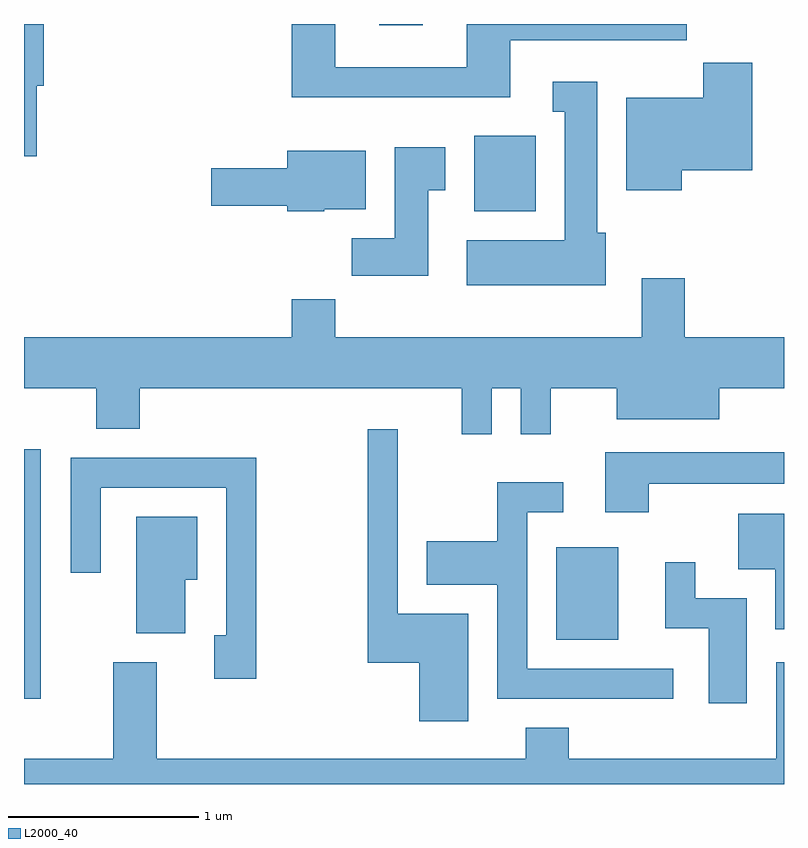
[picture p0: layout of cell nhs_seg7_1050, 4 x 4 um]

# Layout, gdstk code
import gdstk
lib = gdstk.Library(unit=1e-6, precision=1e-09)
def R(c, l, rs):  # rectangles x0, y0, x1, y1
    for r in rs: c.add(gdstk.rectangle(r[:2], r[2:], *l))
def P(c, l, *ps):  # polygons
    for p in ps: c.add(gdstk.Polygon(p, *l))
L2000_40 = (2000, 40)

nhs_seg7_1050 = lib.new_cell('nhs_seg7_1050')
R(nhs_seg7_1050, L2000_40, [(217.611,1692.701,217.699,1694.014), (220.411,1693.011,220.739,1693.499), (219.981,1695.266,220.304,1695.664), (219.481,1696.246,219.709,1696.252)])
P(nhs_seg7_1050, L2000_40, [(217.679,1695.926),(217.714,1695.926),(217.714,1696.252),(217.611,1696.252),(217.611,1695.556),(217.679,1695.556)],
  [(220.169,1696.166),(221.098,1696.166),(221.098,1696.252),(219.941,1696.252),(219.941,1696.024),(219.249,1696.024),(219.249,1696.252),(219.021,1696.252),(219.021,1695.866),(220.169,1695.866)],
  [(221.074,1695.481),(221.444,1695.481),(221.444,1696.049),(221.186,1696.049),(221.186,1695.864),(220.781,1695.864),(220.781,1695.376),(221.074,1695.376)],
  [(220.674,1695.154),(220.629,1695.154),(220.629,1695.949),(220.393,1695.949),(220.393,1695.791),(220.456,1695.791),(220.456,1695.114),(219.941,1695.114),(219.941,1694.876),(220.674,1694.876)],
  [(219.739,1695.376),(219.829,1695.376),(219.829,1695.604),(219.561,1695.604),(219.561,1695.124),(219.336,1695.124),(219.336,1694.926),(219.739,1694.926)],
  [(219.19,1695.276),(219.409,1695.276),(219.409,1695.584),(218.996,1695.584),(218.996,1695.494),(218.596,1695.494),(218.596,1695.296),(218.996,1695.296),(218.996,1695.266),(219.19,1695.266)],
  [(220.074,1694.336),(220.226,1694.336),(220.226,1694.093),(220.384,1694.093),(220.384,1694.336),(220.731,1694.336),(220.731,1694.171),(221.269,1694.171),(221.269,1694.336),(221.611,1694.336),(221.611,1694.604),(221.089,1694.604),(221.089,1694.914),(220.861,1694.914),(220.861,1694.604),(219.249,1694.604),(219.249,1694.804),(219.021,1694.804),(219.021,1694.604),(217.611,1694.604),(217.611,1694.336),(217.991,1694.336),(217.991,1694.121),(218.219,1694.121),(218.219,1694.336),(219.916,1694.336),(219.916,1694.093),(220.074,1694.093)],
  [(219.949,1693.149),(219.579,1693.149),(219.579,1694.118),(219.421,1694.118),(219.421,1692.891),(219.691,1692.891),(219.691,1692.581),(219.949,1692.581)],
  [(220.899,1693.831),(221.611,1693.831),(221.611,1693.999),(220.671,1693.999),(220.671,1693.681),(220.899,1693.681)],
  [(218.834,1693.969),(217.856,1693.969),(217.856,1693.363),(218.014,1693.363),(218.014,1693.811),(218.676,1693.811),(218.676,1693.034),(218.611,1693.034),(218.611,1692.806),(218.834,1692.806)],
  [(221.028,1692.859),(220.259,1692.859),(220.259,1693.681),(220.448,1693.681),(220.448,1693.839),(220.101,1693.839),(220.101,1693.529),(219.731,1693.529),(219.731,1693.301),(220.101,1693.301),(220.101,1692.701),(221.028,1692.701)],
  [(221.611,1693.674),(221.371,1693.674),(221.371,1693.381),(221.566,1693.381),(221.566,1693.066),(221.611,1693.066)],
  [(218.459,1693.326),(218.524,1693.326),(218.524,1693.659),(218.201,1693.659),(218.201,1693.046),(218.459,1693.046)],
  [(221.414,1693.229),(221.144,1693.229),(221.144,1693.418),(220.986,1693.418),(220.986,1693.071),(221.216,1693.071),(221.216,1692.676),(221.414,1692.676)],
  [(221.611,1692.893),(221.571,1692.893),(221.571,1692.384),(220.479,1692.384),(220.479,1692.549),(220.251,1692.549),(220.251,1692.384),(218.309,1692.384),(218.309,1692.894),(218.081,1692.894),(218.081,1692.384),(217.611,1692.384),(217.611,1692.252),(221.611,1692.252)])

lib.write_gds('nhs_seg7_1050.gds')
